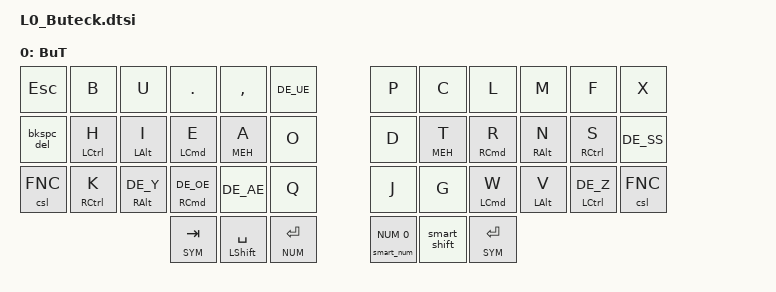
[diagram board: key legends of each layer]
/**
 * Alpha Layer - BuT - Bu-Teck
 */

/ {
  keymap {
    compatible = "zmk,keymap";

    layer_def_adnw {
      label = "BuT";
      bindings = <
// ╭───────────────┬───────────────┬───────────────┬───────────────┬───────────────┬───────────────╮   ╭───────────────┬───────────────┬───────────────┬───────────────┬───────────────┬───────────────╮
//  0               1               2               3               4               5                   6               7               8               9               10              11
    &kp ESC         &kp B           &kp U           &kp DOT         &kp COMMA       &kp DE_UE           &kp P           &kp C           &kp L           &kp M           &kp F           &kp X
// ├───────────────├───────────────┼───────────────┼───────────────┼───────────────┼───────────────┤   ├───────────────├───────────────┼───────────────┼───────────────┼───────────────┼───────────────┤
//  12              13              14              15              16              17                  18              19              20              21              22              23
    &bkspc_del      &mt LCTRL H     &mt LALT I      &mt LCMD E      &mt MEH A       &kp O               &kp D           &mt MEH T       &mt RCMD R      &mt RALT N      &mt RCTRL S     &kp DE_SS
// ├───────────────├───────────────┼───────────────┼───────────────┼───────────────┼───────────────┤   ├───────────────├───────────────┼───────────────┼───────────────┼───────────────┼───────────────┤
//  24              25              26              27              28              29                  30              31              32              33              34              35
    &csl FNC        &mt RCTRL K     &mt RALT DE_Y   &mt RCMD DE_OE  &kp DE_AE       &kp Q               &kp J           &kp G           &mt LCMD W      &mt LALT V      &mt LCTRL DE_Z  &csl FNC
// ╰───────────────┴───────────────┴───────────────┼───────────────┼───────────────┼───────────────┤   ├───────────────├───────────────┼───────────────┼───────────────┴───────────────┴───────────────╯
//                                                  36              37              38                  39              40              41
                                                    &lt SYM TAB     &mt LSHFT SPACE &lt NUM ENTER       &smart_num NUM 0 &smart_shift   &lt SYM ENTER
//                                                 ╰───────────────┴───────────────┴───────────────╯   ╰───────────────┴───────────────┴───────────────╯
      >;
    };
  };
};


